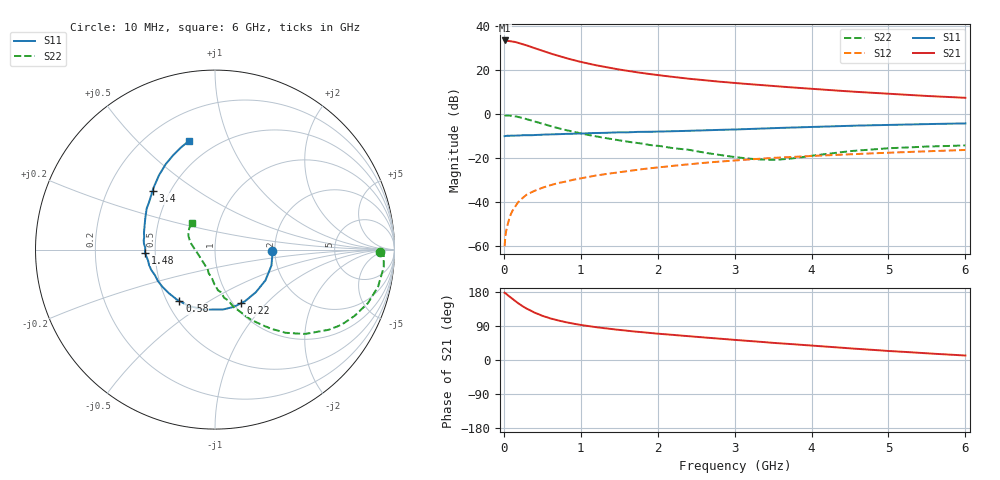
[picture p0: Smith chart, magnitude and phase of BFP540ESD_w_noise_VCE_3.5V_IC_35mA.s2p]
! Infineon Technologies  Discrete & RF Semiconductors
! BFP540ESD
! VCE =  3.5 V,  IC =  35 mA
! Common Emitter S-Parameters:  Nov 2015
# GHz  S  MA  R  50
!  f  S11  S21  S12  S22
! GHz  MAG  ANG  MAG  ANG  MAG  ANG  MAG  ANG
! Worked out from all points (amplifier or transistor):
!   210 points, 10 MHz to 6 GHz, reference 50 ohm
!   highest |S21| = 33.6 dB at 10 MHz (marker M1)
!   |S21| within 3 dB of that: start of sweep to 358 MHz
!   unconditionally stable (mu >= 1): start of sweep to 14.86 MHz; 1.815 GHz to end of sweep
!   at 185 MHz: K = 0.30, MSG = 36.3 dB, |S12| = -40.1 dB
!   at 1.52 GHz: K = 0.96, MSG = 23.3 dB, |S12| = -26.2 dB
!   at 6 GHz: K = 1.10, MAG = 9.9 dB, |S12| = -16.2 dB
!   lowest NFmin = 1.52 dB at 900 MHz
!   S11 on the Smith chart (normalised r, x): 10 MHz: 1.94, -0.05; 220 MHz: 1.08, -0.73; 580 MHz: 0.58, -0.38; 1.48 GHz: 0.44, -0.02; 3.4 GHz: 0.40, +0.34; 6 GHz: 0.37, +0.72
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0.01  0.319 -1.9  47.98 177.5  0.001 101.2  0.9205 -0.7
0.02  0.3208 -6.2  47.11 176.4  0.0017 85.1  0.9401 -1.5
0.05  0.3268 -15.6  47.15 171.2  0.0031 80.1  0.9452 -5.9
0.1  0.3291 -31.4  45.94 162.9  0.0058 78.0  0.9317 -12.9
0.15  0.3289 -46.1  44.19 155.1  0.0081 77.1  0.902 -19.4
0.2  0.3324 -59.4  41.9 147.8  0.0107 75.4  0.8614 -25.3
0.22  0.3321 -64.2  40.84 145.2  0.0115 75.1  0.8441 -27.4
0.3  0.3366 -82.0  36.91 135.1  0.015 69.9  0.7737 -35.3
0.4  0.3402 -100.3  32.07 124.9  0.0182 67.0  0.6874 -43.1
0.5  0.3463 -115.3  28 116.6  0.0213 65.3  0.6088 -49.6
0.58  0.3483 -124.7  25.11 111.5  0.0236 65.4  0.5553 -53.4
0.7  0.3534 -136.1  21.63 104.6  0.0271 64.0  0.4881 -58.6
0.8  0.3589 -144.7  19.2 99.9  0.0294 63.5  0.441 -62.7
1.02  0.3655 -158.2  15.32 91.9  0.0354 62.8  0.3626 -69.0
1.2  0.3772 -167.2  13.07 86.6  0.0406 62.5  0.3155 -73.6
1.48  0.3892 -177.6  10.62 79.9  0.0478 61.1  0.2596 -80.3
2.02  0.4067 166.7  7.738 69.2  0.0625 57.8  0.1908 -91.3
3.1  0.4576 142.5  5.005 51.7  0.0917 49.0  0.1019 -123.9
3.4  0.4778 136.7  4.546 47.0  0.0995 46.0  0.093 -143.0
4.1  0.5242 125.5  3.702 36.5  0.1149 39.5  0.1196 174.5
5.1  0.5805 112.6  2.875 22.7  0.1359 30.0  0.1718 149.5
6  0.6215 103.7  2.379 11.7  0.1545 23.0  0.1966 131.6
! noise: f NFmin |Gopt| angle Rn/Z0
0.9  1.52  0.41  -139  0.13
1.8  1.66  0.44  -142  0.13
2.4  1.7  0.44  -132  0.15
3  1.82  0.46  -125  0.19
4  1.87  0.55  -103  0.33
5  2.01  0.6  -88  0.51
6  2.34  0.59  -85  0.77
